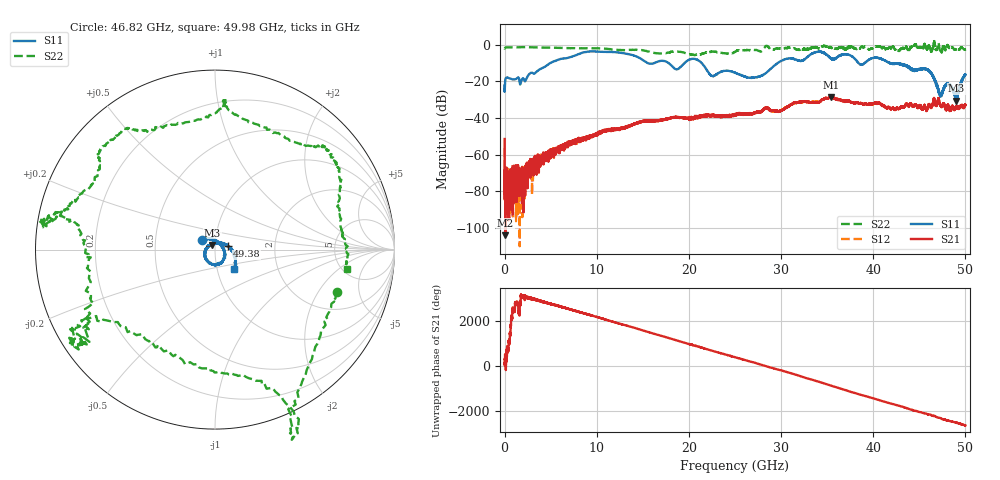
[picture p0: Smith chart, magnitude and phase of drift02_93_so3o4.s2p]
!Created with skrf (http://scikit-rf.org).
# Hz S RI R 50.0
!freq ReS11 ImS11 ReS21 ImS21 ReS12 ImS12 ReS22 ImS22
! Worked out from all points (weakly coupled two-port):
!   10001 points, 300 kHz to 50 GHz, reference 50 ohm
!   highest |S21| = -28.49 dB at 35.39 GHz (marker M1); lowest = -104.0 dB at 75.3 MHz (marker M2)
!   lowest |S11| = -30.4 dB at 49.02 GHz (marker M3), VSWR 1.06, Z = 48.4 + j2.51 ohm
!   |S11| at or under -10 dB: start of sweep to 4.954 GHz; 21.38 GHz to 29.63 GHz (8.246 GHz wide, 32.3 % of centre); 41.87 GHz to end of sweep (the widest 3 of 9)
!   |S22| runs from -5.7 to 2.3 dB; largest |S21 - S12| = 0.0041
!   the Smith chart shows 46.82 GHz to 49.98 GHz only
!   S11 on the Smith chart (normalised r, x): 46.82 GHz: 0.86, +0.09; 49.38 GHz: 1.15, +0.04; 49.98 GHz: 1.21, -0.26
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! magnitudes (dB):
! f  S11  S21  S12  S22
! 300 kHz  -22.2  -51.5  -56.2  -2.0
! 75.3 MHz  -19.2  -104.0  -74.5  -1.5
! 260.3 MHz  -17.9  -71.8  -78.4  -1.4
! 1.86 GHz  -19.2  -70.8  -77.2  -1.3
! 3.535 GHz  -14.4  -61.6  -63.1  -1.5
! 8.335 GHz  -4.5  -51.9  -52.0  -1.9
! 16.67 GHz  -9.1  -41.4  -41.4  -4.7
! 18.71 GHz  -13.4  -39.7  -39.5  -3.7
! 20.6 GHz  -7.7  -40.1  -39.9  -5.7
! 22.52 GHz  -17.1  -38.9  -38.7  -3.7
! 25 GHz  -15.3  -38.2  -38.3  -3.9
! 27.45 GHz  -17.6  -36.8  -36.6  -3.1
! 33.34 GHz  -4.9  -31.4  -31.3  -1.6
! 35.39 GHz  -7.3  -28.5  -28.6  -1.5
! 41.67 GHz  -9.6  -34.3  -34.0  -2.0
! 45.79 GHz  -13.7  -35.5  -36.0  -2.2
! 46.82 GHz  -21.1  -33.2  -33.5  -2.8
! 47.28 GHz  -26.5  -32.9  -32.8  -3.2
! 49.02 GHz  -30.4  -34.0  -33.7  -1.9
! 49.38 GHz  -22.8  -34.2  -34.4  -2.5
! 49.98 GHz  -16.5  -32.7  -32.7  -2.6
! 50 GHz  -16.3  -32.7  -32.9  -2.6
